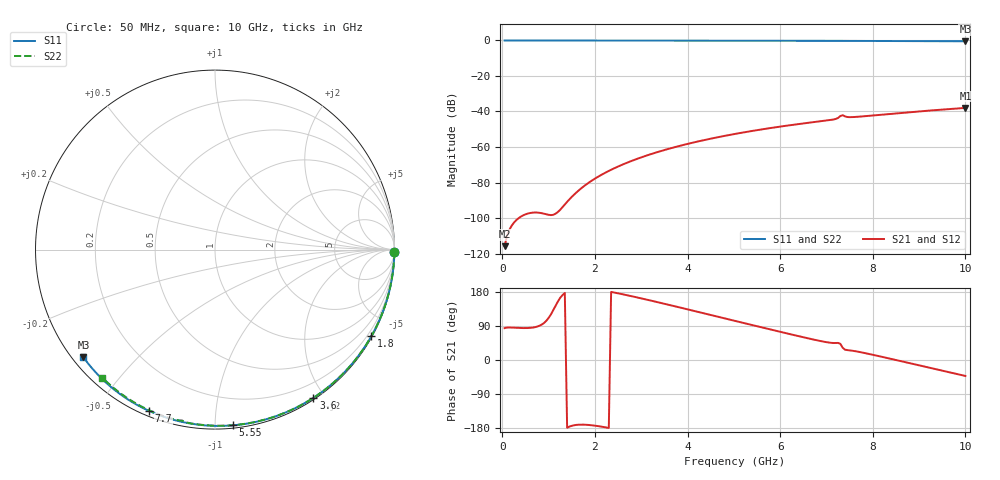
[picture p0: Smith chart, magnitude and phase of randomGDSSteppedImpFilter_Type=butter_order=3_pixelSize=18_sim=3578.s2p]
! freq	dB(S11)	phase(S11)	dB(S12)	phase(S12)
!  dB(S21)	phase(S21)	dB(S22)	phase(S22)
!S-par simulation data
#  GHz  S  DB  R 50
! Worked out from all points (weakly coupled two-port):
!   200 points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, 50 MHz to 10 GHz, reference 50 ohm
!   highest |S21| = -38.00 dB at 10 GHz (marker M1); lowest = -115.8 dB at 50 MHz (marker M2)
!   lowest |S11| = -0.5 dB at 10 GHz (marker M3), VSWR 36.92, Z = 1.53 - j17.8 ohm
!   |S11| at or under -10 dB: nowhere
!   |S22| runs from -0.4 to 0.0 dB; largest |S21 - S12| = 0
!   S11 on the Smith chart (normalised r, x): 50 MHz: open; 1.8 GHz: 0.03, -3.88; 3.6 GHz: 0.02, -1.86; 5.55 GHz: 0.02, -1.11; 7.7 GHz: 0.02, -0.67; 10 GHz: 0.03, -0.36
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0.05  -0.01 -0.8  -115.84 84.2  -115.84 84.2  -0.01 -0.8
0.9  -0.02 -14.6  -97.55 97.4  -97.55 97.4  -0.02 -13.6
1.75  -0.04 -28.1  -82.31 -170.6  -82.31 -170.6  -0.03 -26.2
1.8  -0.04 -28.9  -81.33 -170.9  -81.33 -170.9  -0.03 -26.9
1.9  -0.04 -30.5  -79.50 -171.8  -79.50 -171.8  -0.04 -28.4
2.25  -0.05 -35.9  -74.12 -178.1  -74.12 -178.1  -0.04 -33.5
2.65  -0.05 -42.1  -69.30 172.2  -69.30 172.2  -0.05 -39.2
3  -0.06 -47.4  -65.84 162.7  -65.84 162.7  -0.06 -44.2
3.4  -0.07 -53.4  -62.46 151.3  -62.46 151.3  -0.07 -49.8
3.6  -0.08 -56.4  -60.96 145.5  -60.96 145.5  -0.07 -52.6
4.3  -0.09 -66.6  -56.44 124.8  -56.44 124.8  -0.09 -62.2
5.05  -0.12 -77.2  -52.52 102.5  -52.52 102.5  -0.11 -72.1
5.55  -0.14 -84.1  -50.30 87.6  -50.30 87.6  -0.13 -78.6
6.7  -0.19 -99.4  -46.07 54.5  -46.07 54.5  -0.18 -93.0
7.15  -0.22 -105.2  -44.54 44.8  -44.54 44.8  -0.20 -98.5
7.25  -0.23 -106.5  -43.66 45.1  -43.66 45.1  -0.22 -99.8
7.3  -0.23 -107.1  -42.55 42.7  -42.55 42.7  -0.25 -100.5
7.35  -0.23 -107.8  -42.09 32.4  -42.09 32.4  -0.27 -100.9
7.45  -0.24 -109.0  -43.10 26.1  -43.10 26.1  -0.25 -101.9
7.7  -0.26 -112.2  -42.93 21.5  -42.93 21.5  -0.25 -104.9
8.35  -0.31 -120.3  -41.40 4.2  -41.40 4.2  -0.29 -112.5
10  -0.47 -140.7  -38.00 -42.1  -38.00 -42.1  -0.44 -131.3
